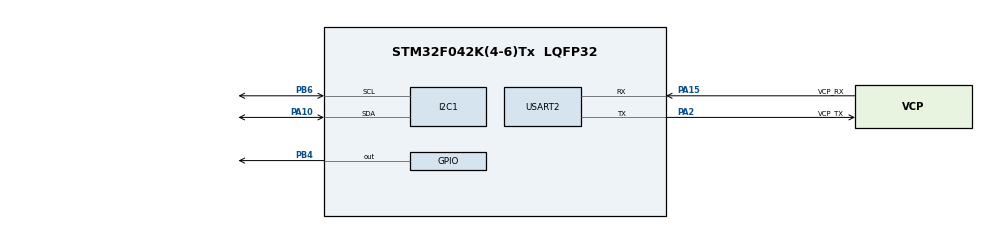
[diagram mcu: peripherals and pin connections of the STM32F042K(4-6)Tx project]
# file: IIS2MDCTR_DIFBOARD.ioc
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Mcu.Family=STM32F0
Mcu.Name=STM32F042K(4-6)Tx
Mcu.Package=LQFP32
PA10.Mode=I2C
PA10.Signal=I2C1_SDA
PA13.GPIO_Label=SWDIO
PA13.Mode=Serial_Wire
PA13.Signal=SYS_SWDIO
PA14.GPIO_Label=SWCLK
PA14.Mode=Serial_Wire
PA14.Signal=SYS_SWCLK
PA15.GPIO_Label=VCP_RX
PA15.Mode=Asynchronous
PA15.Signal=USART2_RX
PA2.GPIO_Label=VCP_TX
PA2.Mode=Asynchronous
PA2.Signal=USART2_TX
PB4.Signal=GPIO_Output
PB6.Mode=I2C
PB6.Signal=I2C1_SCL
PF0-OSC_IN.GPIO_Label=MCO
PF0-OSC_IN.Mode=HSE-External-Clock-Source
PF0-OSC_IN.Signal=RCC_OSC_IN
ProjectManager.HeapSize=0x200
ProjectManager.StackSize=0x400
ProjectManager.TargetToolchain=STM32CubeIDE
USART2.VirtualMode-Asynchronous=VM_ASYNC
board=NUCLEO-F042K6

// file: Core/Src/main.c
/* USER CODE BEGIN Header */
/**
  ******************************************************************************
  * @file           : main.c
  * @brief          : Main program body
  ******************************************************************************
  * @attention
  *
  * Copyright (c) 2023 STMicroelectronics.
  * All rights reserved.
  *
  * This software is licensed under terms that can be found in the LICENSE file
  * in the root directory of this software component.
  * If no LICENSE file comes with this software, it is provided AS-IS.
  *
  ******************************************************************************
  */
/* USER CODE END Header */
#include "main.h"

/* USER CODE BEGIN Includes */
#include <string.h>
#include <stdio.h>
#include <math.h>
#include <stdlib.h>
/* USER CODE END Includes */

/* USER CODE BEGIN PD */

#define IIS2_ADDR 0x1E<<1
#define OUTX_L 0x68
#define OUTY_L 0x6A
#define OUTZ_L 0x6C
#define CFG_REG_A 0x60
/* USER CODE END PD */

I2C_HandleTypeDef hi2c1;

UART_HandleTypeDef huart2;

void SystemClock_Config(void);
static void MX_GPIO_Init(void);
static void MX_USART2_UART_Init(void);
static void MX_I2C1_Init(void);
/* USER CODE BEGIN PFP */
void UART_PRINT_VAL(double value);
void UART_PRINT_TEXT(uint8_t* MSG);
void IIS2_INIT(void);
u_int16_t IIS2_GET_DATA(uint8_t addr, uint16_t dataSize);
/* USER CODE END PFP */

int main(void)
{

  /* MCU Configuration--------------------------------------------------------*/

  /* Reset of all peripherals, Initializes the Flash interface and the Systick. */
  HAL_Init();

  /* Configure the system clock */
  SystemClock_Config();

  /* Initialize all configured peripherals */
  MX_GPIO_Init();
  MX_USART2_UART_Init();
  MX_I2C1_Init();
  /* USER CODE BEGIN 2 */
  u_int16_t xData = 0;
  u_int16_t yData = 0;
  u_int16_t zData = 0;
  double xDataRef = 0;
  double yDataRef = 0;
  double zDataRef = 0;
  /* USER CODE END 2 */

  /* Infinite loop */
  /* USER CODE BEGIN WHILE */
  while (1)
  {
	  IIS2_INIT();

	  HAL_GPIO_WritePin(GPIOB, GPIO_PIN_4, GPIO_PIN_SET);
	  HAL_Delay(1);
	  HAL_GPIO_WritePin(GPIOB, GPIO_PIN_4, GPIO_PIN_RESET);
	  HAL_Delay(1);
	  /*xData = IIS2_GET_DATA(OUTX_L, 2);
	  yData = IIS2_GET_DATA(OUTY_L, 2);
	  zData = IIS2_GET_DATA(OUTZ_L, 2);
	  xDataRef = xData;
	  yDataRef = yData;
	  zDataRef = zData;
	  UART_PRINT_TEXT("xData : ");
	  UART_PRINT_VAL(xDataRef);*/
	  /*UART_PRINT_VAL("yData :");
	  UART_PRINT_VAL(yDataRef);
	  UART_PRINT_VAL("zData :");
	  UART_PRINT_VAL(zDataRef);*/

    /* USER CODE END WHILE */

    /* USER CODE BEGIN 3 */
	  //HAL_Delay(5);
  }
  /* USER CODE END 3 */
}

void SystemClock_Config(void)
{
  RCC_OscInitTypeDef RCC_OscInitStruct = {0};
  RCC_ClkInitTypeDef RCC_ClkInitStruct = {0};
  RCC_PeriphCLKInitTypeDef PeriphClkInit = {0};

  /** Initializes the RCC Oscillators according to the specified parameters
  * in the RCC_OscInitTypeDef structure.
  */
  RCC_OscInitStruct.OscillatorType = RCC_OSCILLATORTYPE_HSI;
  RCC_OscInitStruct.HSIState = RCC_HSI_ON;
  RCC_OscInitStruct.HSICalibrationValue = RCC_HSICALIBRATION_DEFAULT;
  RCC_OscInitStruct.PLL.PLLState = RCC_PLL_NONE;
  if (HAL_RCC_OscConfig(&RCC_OscInitStruct) != HAL_OK)
  {
    Error_Handler();
  }

  /** Initializes the CPU, AHB and APB buses clocks
  */
  RCC_ClkInitStruct.ClockType = RCC_CLOCKTYPE_HCLK|RCC_CLOCKTYPE_SYSCLK
                              |RCC_CLOCKTYPE_PCLK1;
  RCC_ClkInitStruct.SYSCLKSource = RCC_SYSCLKSOURCE_HSI;
  RCC_ClkInitStruct.AHBCLKDivider = RCC_SYSCLK_DIV1;
  RCC_ClkInitStruct.APB1CLKDivider = RCC_HCLK_DIV1;

  if (HAL_RCC_ClockConfig(&RCC_ClkInitStruct, FLASH_LATENCY_0) != HAL_OK)
  {
    Error_Handler();
  }
  PeriphClkInit.PeriphClockSelection = RCC_PERIPHCLK_I2C1;
  PeriphClkInit.I2c1ClockSelection = RCC_I2C1CLKSOURCE_HSI;
  if (HAL_RCCEx_PeriphCLKConfig(&PeriphClkInit) != HAL_OK)
  {
    Error_Handler();
  }
}

static void MX_I2C1_Init(void)
{

  hi2c1.Instance = I2C1;
  hi2c1.Init.Timing = 0x2000090E;
  hi2c1.Init.OwnAddress1 = 0;
  hi2c1.Init.AddressingMode = I2C_ADDRESSINGMODE_7BIT;
  hi2c1.Init.DualAddressMode = I2C_DUALADDRESS_DISABLE;
  hi2c1.Init.OwnAddress2 = 0;
  hi2c1.Init.OwnAddress2Masks = I2C_OA2_NOMASK;
  hi2c1.Init.GeneralCallMode = I2C_GENERALCALL_DISABLE;
  hi2c1.Init.NoStretchMode = I2C_NOSTRETCH_DISABLE;
  if (HAL_I2C_Init(&hi2c1) != HAL_OK)
  {
    Error_Handler();
  }

  /** Configure Analogue filter
  */
  if (HAL_I2CEx_ConfigAnalogFilter(&hi2c1, I2C_ANALOGFILTER_ENABLE) != HAL_OK)
  {
    Error_Handler();
  }

  /** Configure Digital filter
  */
  if (HAL_I2CEx_ConfigDigitalFilter(&hi2c1, 0) != HAL_OK)
  {
    Error_Handler();
  }

}

static void MX_USART2_UART_Init(void)
{

  huart2.Instance = USART2;
  huart2.Init.BaudRate = 38400;
  huart2.Init.WordLength = UART_WORDLENGTH_8B;
  huart2.Init.StopBits = UART_STOPBITS_1;
  huart2.Init.Parity = UART_PARITY_NONE;
  huart2.Init.Mode = UART_MODE_TX_RX;
  huart2.Init.HwFlowCtl = UART_HWCONTROL_NONE;
  huart2.Init.OverSampling = UART_OVERSAMPLING_16;
  huart2.Init.OneBitSampling = UART_ONE_BIT_SAMPLE_DISABLE;
  huart2.AdvancedInit.AdvFeatureInit = UART_ADVFEATURE_NO_INIT;
  if (HAL_UART_Init(&huart2) != HAL_OK)
  {
    Error_Handler();
  }

}

static void MX_GPIO_Init(void)
{
  GPIO_InitTypeDef GPIO_InitStruct = {0};

  /* GPIO Ports Clock Enable */
  __HAL_RCC_GPIOF_CLK_ENABLE();
  __HAL_RCC_GPIOA_CLK_ENABLE();
  __HAL_RCC_GPIOB_CLK_ENABLE();

  /*Configure GPIO pin Output Level */
  HAL_GPIO_WritePin(GPIOB, GPIO_PIN_4, GPIO_PIN_RESET);

  /*Configure GPIO pin : PB4 */
  GPIO_InitStruct.Pin = GPIO_PIN_4;
  GPIO_InitStruct.Mode = GPIO_MODE_OUTPUT_PP;
  GPIO_InitStruct.Pull = GPIO_NOPULL;
  GPIO_InitStruct.Speed = GPIO_SPEED_FREQ_LOW;
  HAL_GPIO_Init(GPIOB, &GPIO_InitStruct);

}

/* USER CODE BEGIN 4 */
void UART_PRINT_VAL(double value){
    char total[50];
    char temp[10];
    if(value < 0){
       UART_PRINT_TEXT("-");
    }
    sprintf(total, "%i", abs((int)value));
    strcat(total, ".");
    double currentVal = (value - (int) value);
    for(int a=0;a<6;a++){
        currentVal *= 10;
        sprintf(temp, "%i", abs((int)currentVal));
        strcat(total, temp);
        currentVal -= (int)currentVal;
    }
    HAL_UART_Transmit(&huart2, total, strlen(total), 100);
}
void UART_PRINT_TEXT(uint8_t* MSG){
	HAL_UART_Transmit(&huart2, MSG, strlen(MSG), 100);
}

void IIS2_INIT(void){
	HAL_I2C_Mem_Write(&hi2c1, IIS2_ADDR, 0x60, 1, 0x00, 1, 100); // change OPERATION MODE to CONTINUOUS MODE
}
u_int16_t IIS2_GET_DATA(uint8_t addr, uint16_t dataSize){
	uint16_t val = 0;
	uint16_t value = 0;
	uint8_t receiveData[dataSize];
	HAL_I2C_Mem_Read(&hi2c1, IIS2_ADDR, addr, 1, receiveData, dataSize, 100);
	value = (receiveData[1] << 8 | receiveData[0]);
	if(value > 0x7fff){
		val = ~value;
	}
	else{
		val = value;
	}
	return val;
}
/* USER CODE END 4 */

void Error_Handler(void)
{
  __disable_irq();
  while (1)
  {
  }
}
